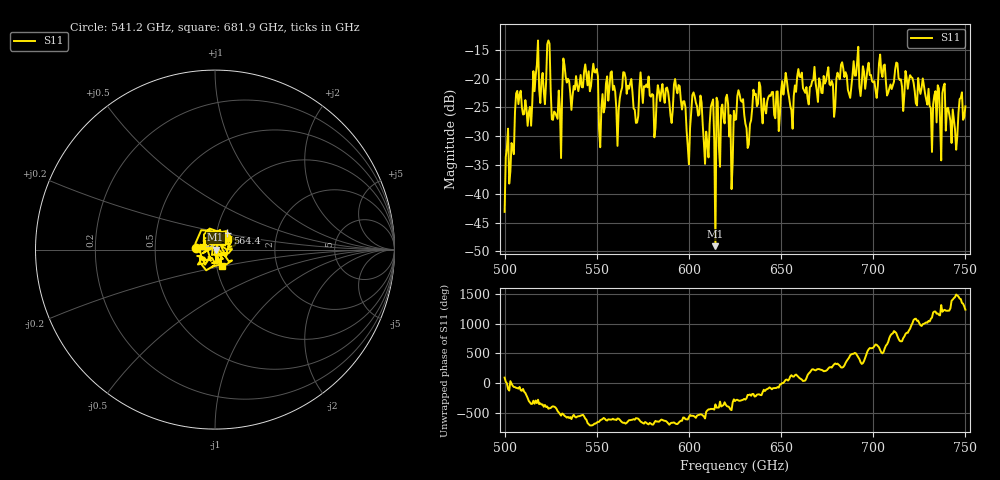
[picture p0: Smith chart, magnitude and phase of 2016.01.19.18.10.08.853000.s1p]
!Created with skrf (http://scikit-rf.org).
# GHz S RI R 50.0
!freq ReS11 ImS11
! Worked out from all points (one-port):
!   401 points, 500 GHz to 750 GHz, reference 50 ohm
!   lowest |S11| = -49.1 dB at 614.4 GHz (marker M1), VSWR 1.01, Z = 50.4 + j0.0211 ohm
!   |S11| at or under -10 dB: start of sweep to end of sweep
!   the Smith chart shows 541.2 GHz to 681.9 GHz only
!   S11 on the Smith chart (normalised r, x): 541.2 GHz: 0.81, +0.02; 564.4 GHz: 1.13, +0.21; 681.9 GHz: 1.06, -0.19
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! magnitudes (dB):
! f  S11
! 500 GHz  -43.1
! 507.5 GHz  -24.4
! 513.8 GHz  -24.9
! 516.9 GHz  -19.4
! 520.6 GHz  -19.0
! 523.8 GHz  -13.4
! 526.9 GHz  -25.7
! 531.2 GHz  -22.0
! 541.2 GHz  -19.4
! 562.5 GHz  -23.4
! 564.4 GHz  -18.9
! 571.2 GHz  -27.7
! 574.4 GHz  -21.5
! 593.8 GHz  -22.6
! 599.4 GHz  -31.8
! 603.1 GHz  -23.1
! 609.4 GHz  -29.2
! 612.5 GHz  -24.2
! 614.4 GHz  -49.1
! 625 GHz  -27.2
! 651.9 GHz  -21.2
! 656.2 GHz  -28.7
! 660 GHz  -19.7
! 681.9 GHz  -20.1
! 687.5 GHz  -23.4
! 718.8 GHz  -21.8
! 743.8 GHz  -27.2
! 750 GHz  -24.8
